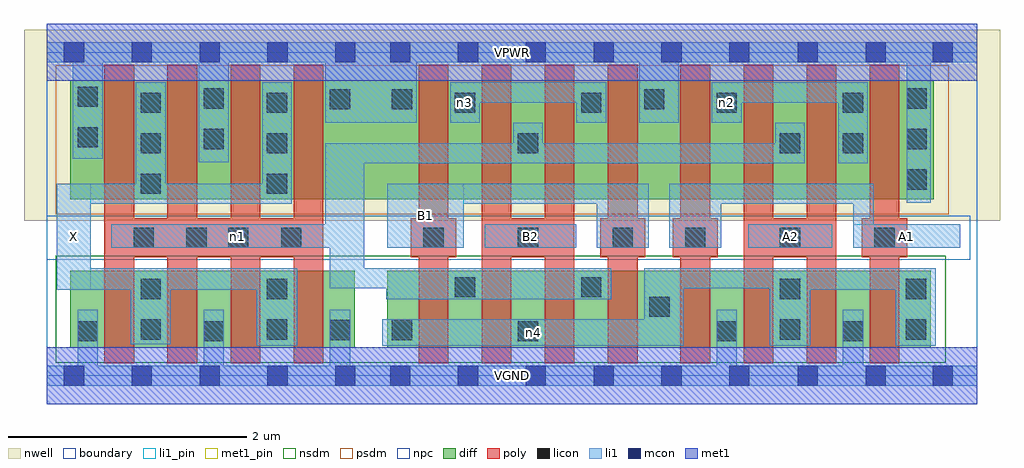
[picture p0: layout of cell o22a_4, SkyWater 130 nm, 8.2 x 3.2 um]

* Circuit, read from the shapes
.subckt o22a_4 A1 A2 B1 B2 VGND VPWR X n1 n2 n3 n4
XM1 X n1 VGND VSUBS sky130_fd_pr__nfet_01v8 w=0.65 l=0.25 m=4
XM2 n1 B1 n4 VSUBS sky130_fd_pr__nfet_01v8 w=0.65 l=0.25 m=2
XM3 n4 B2 n1 VSUBS sky130_fd_pr__nfet_01v8 w=0.65 l=0.25 m=2
XM4 VGND A1 n4 VSUBS sky130_fd_pr__nfet_01v8 w=0.65 l=0.25 m=2
XM5 n4 A2 VGND VSUBS sky130_fd_pr__nfet_01v8 w=0.65 l=0.25 m=2
XM6 X n1 VPWR n5 sky130_fd_pr__pfet_01v8 w=1 l=0.25 m=4
XM7 n3 B1 VPWR n5 sky130_fd_pr__pfet_01v8 w=1 l=0.25 m=2
XM8 n1 B2 n3 n5 sky130_fd_pr__pfet_01v8 w=1 l=0.25 m=2
XM9 n2 A1 VPWR n5 sky130_fd_pr__pfet_01v8 w=1 l=0.25 m=2
XM10 n1 A2 n2 n5 sky130_fd_pr__pfet_01v8 w=1 l=0.25 m=2
.ends

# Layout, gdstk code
import gdstk
lib = gdstk.Library(unit=1e-6, precision=1e-09)
def R(c, l, rs):  # rectangles x0, y0, x1, y1
    for r in rs: c.add(gdstk.rectangle(r[:2], r[2:], *l))
def A(c, l, x, y, w, h, nx, ny, dx, dy):  # array of equal rectangles
    R(c, l, [(x+i*dx, y+j*dy, x+i*dx+w, y+j*dy+h) for i in range(nx) for j in range(ny)])
nwell = (64, 20)
diff = (65, 20)
poly = (66, 20)
licon = (66, 44)
li1_pin = (67, 16)
li1 = (67, 20)
mcon = (67, 44)
met1_pin = (68, 16)
met1 = (68, 20)
nsdm = (93, 44)
psdm = (94, 20)
npc = (95, 20)
boundary = (235, 4)

o22a_4 = lib.new_cell('o22a_4')
R(o22a_4, nwell, [(-0.19,1.305,8.01,2.91), (0,1.305,7.82,2.91)])
R(o22a_4, diff, [(0.2,0.235,2.59,0.885), (2.86,0.235,7.43,0.885), (0.2,1.485,7.455,2.485)])
A(o22a_4, poly, 0.485, 0.105, 0.25, 2.51, 4, 1, 0.53, 0)
A(o22a_4, poly, 3.125, 0.105, 0.25, 2.51, 4, 1, 0.53, 0)
A(o22a_4, poly, 5.325, 0.105, 0.25, 2.51, 4, 1, 0.53, 0)
R(o22a_4, poly, [(0.485,0.995,2.325,1.325), (3.06,0.995,3.44,1.325), (3.655,0.995,4.435,1.325), (4.65,0.995,5.03,1.325), (5.26,0.995,5.64,1.325), (5.855,0.995,6.635,1.325), (6.85,0.995,7.23,1.325)])
A(o22a_4, licon, 3.165, 1.075, 0.17, 0.17, 3, 1, 0.795, 0)
A(o22a_4, licon, 5.365, 1.075, 0.17, 0.17, 3, 1, 0.795, 0)
A(o22a_4, licon, 0.79, 1.53, 0.17, 0.17, 1, 3, 0, 0.34)
A(o22a_4, licon, 1.85, 1.53, 0.17, 0.17, 1, 3, 0, 0.34)
A(o22a_4, licon, 7.225, 1.565, 0.17, 0.17, 1, 3, 0, 0.34)
R(o22a_4, licon, [(0.26,0.29,0.43,0.46), (1.32,0.29,1.49,0.46), (3.96,0.29,4.13,0.46), (5.63,0.29,5.8,0.46), (6.69,0.29,6.86,0.46), (2.38,0.3,2.55,0.47), (2.9,0.3,3.07,0.47), (0.79,0.305,0.96,0.475), (1.85,0.305,2.02,0.475), (6.16,0.305,6.33,0.475), (7.22,0.305,7.39,0.475), (5.065,0.495,5.235,0.665), (0.79,0.645,0.96,0.815), (1.85,0.645,2.02,0.815), (6.16,0.645,6.33,0.815), (7.22,0.645,7.39,0.815), (3.43,0.66,3.6,0.83), (4.49,0.66,4.66,0.83), (0.73,1.075,0.9,1.245), (1.175,1.075,1.345,1.245), (1.525,1.075,1.695,1.245), (1.97,1.075,2.14,1.245), (3.96,1.87,4.13,2.04), (6.16,1.87,6.33,2.04), (6.69,1.87,6.86,2.04), (1.32,1.905,1.49,2.075), (0.26,1.92,0.43,2.09), (3.43,2.21,3.6,2.38), (4.49,2.21,4.66,2.38), (5.63,2.21,5.8,2.38), (6.69,2.21,6.86,2.38), (2.38,2.24,2.55,2.41), (2.9,2.24,3.07,2.41), (5.02,2.24,5.19,2.41), (1.32,2.245,1.49,2.415), (0.26,2.26,0.43,2.43)])
R(o22a_4, li1_pin, [(0.085,0.725,0.37,1.615), (2.86,1.075,3.505,1.615), (3.68,1.075,4.45,1.275), (5.895,1.075,6.6,1.275), (6.775,1.075,7.675,1.275)])
A(o22a_4, li1, 0.26, -0.085, 0.17, 0.64, 3, 1, 1.06, 0)
R(o22a_4, li1, [(0,-0.085,7.82,0.085), (5.63,-0.085,5.8,0.555), (6.69,-0.085,6.86,0.555), (1.765,0.255,2.105,0.905), (2.82,0.255,5.355,0.475), (5.02,0.255,5.355,0.905), (6.075,0.255,6.415,0.905), (7.135,0.255,7.47,0.905), (0.705,0.265,1.045,0.905), (2.855,0.645,4.745,0.905), (0.085,0.725,2.105,0.905), (0.085,0.725,0.37,1.615), (6.075,0.725,7.47,0.905), (2.38,0.735,2.67,1.955), (2.38,0.735,4.745,0.905), (5.02,0.735,7.47,0.905), (0.545,1.075,2.67,1.275), (2.34,1.075,2.67,1.955), (2.86,1.075,3.505,1.615), (3.68,1.075,4.45,1.275), (4.62,1.075,5.06,1.615), (5.23,1.075,5.67,1.615), (5.895,1.075,6.6,1.275), (6.775,1.075,7.675,1.275), (6.775,1.075,6.95,1.615), (0.085,1.445,2.06,1.615), (0.75,1.445,1,2.465), (1.81,1.445,2.06,2.465), (2.86,1.445,5.06,1.615), (5.23,1.445,6.95,1.615), (7.225,1.455,7.43,2.805), (2.34,1.785,6.37,1.955), (3.92,1.785,4.17,2.125), (6.12,1.785,6.37,2.125), (6.65,1.785,6.9,2.465), (1.28,1.795,1.53,2.805), (0.22,1.825,0.47,2.805), (2.34,2.125,3.11,2.805), (3.39,2.125,3.64,2.465), (4.45,2.125,4.7,2.465), (4.98,2.125,5.31,2.805), (5.59,2.125,5.84,2.465), (3.39,2.295,4.7,2.465), (5.59,2.295,6.9,2.465), (0,2.635,7.82,2.805)])
A(o22a_4, mcon, 0.145, -0.085, 0.17, 0.17, 5, 2, 0.57, 2.72)
A(o22a_4, mcon, 2.885, -0.085, 0.17, 0.17, 6, 2, 0.57, 2.72)
R(o22a_4, mcon, [(6.31,-0.085,6.48,0.085), (6.88,-0.085,7.05,0.085), (7.445,-0.085,7.615,0.085), (6.31,2.635,6.48,2.805), (6.88,2.635,7.05,2.805), (7.445,2.635,7.615,2.805)])
R(o22a_4, met1_pin, [(0,-0.24,7.82,0.24), (0,2.48,7.82,2.96)])
R(o22a_4, met1, [(0,-0.24,7.82,0.24), (0,2.48,7.82,2.96)])
R(o22a_4, nsdm, [(0.075,0.11,7.555,1.01)])
R(o22a_4, psdm, [(0.075,1.36,7.58,2.61)])
R(o22a_4, npc, [(0,0.975,7.76,1.345)])
R(o22a_4, boundary, [(0,0,7.82,2.72)])
o22a_4.add(gdstk.Label('A1', (7.225,1.175), layer=67, texttype=5))
o22a_4.add(gdstk.Label('A2', (6.247,1.175), layer=67, texttype=5))
o22a_4.add(gdstk.Label('B1', (3.182,1.345), layer=67, texttype=5))
o22a_4.add(gdstk.Label('B2', (4.065,1.175), layer=67, texttype=5))
o22a_4.add(gdstk.Label('X', (0.227,1.17), layer=67, texttype=5))
o22a_4.add(gdstk.Label('n4', (4.087,0.365), layer=67, texttype=5))
o22a_4.add(gdstk.Label('n1', (1.607,1.175), layer=67, texttype=5))
o22a_4.add(gdstk.Label('n3', (3.515,2.295), layer=67, texttype=5))
o22a_4.add(gdstk.Label('n2', (5.715,2.295), layer=67, texttype=5))
o22a_4.add(gdstk.Label('VPWR', (3.91,2.72), layer=68, texttype=5))
o22a_4.add(gdstk.Label('VGND', (3.91,0), layer=68, texttype=5))
o22a_4.add(gdstk.Label('A1', (7.225,1.175), layer=67, texttype=16))
o22a_4.add(gdstk.Label('A2', (6.247,1.175), layer=67, texttype=16))
o22a_4.add(gdstk.Label('B1', (3.182,1.345), layer=67, texttype=16))
o22a_4.add(gdstk.Label('B2', (4.065,1.175), layer=67, texttype=16))
o22a_4.add(gdstk.Label('X', (0.227,1.17), layer=67, texttype=16))
o22a_4.add(gdstk.Label('VPWR', (3.91,2.72), layer=68, texttype=16))
o22a_4.add(gdstk.Label('VGND', (3.91,0), layer=68, texttype=16))

lib.write_gds('o22a_4.gds')
